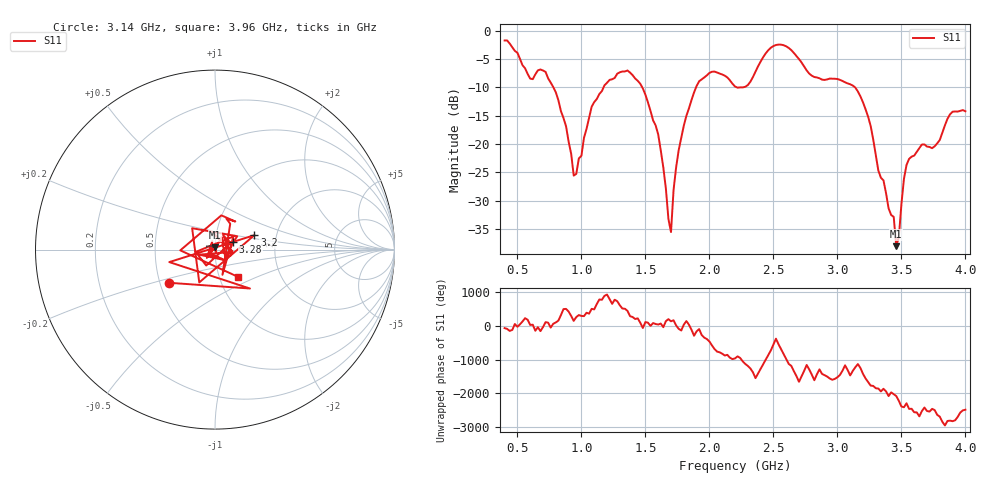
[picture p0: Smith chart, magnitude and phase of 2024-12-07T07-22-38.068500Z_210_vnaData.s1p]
!Created with skrf (http://scikit-rf.org).
# Hz S RI R 50.0
!freq ReS11 ImS11
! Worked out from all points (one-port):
!   181 points, 400 MHz to 4 GHz, reference 50 ohm
!   lowest |S11| = -38.1 dB at 3.46 GHz (marker M1), VSWR 1.03, Z = 50.2 + j1.24 ohm
!   |S11| at or under -10 dB: 781.7 MHz to 1.173 GHz (390.9 MHz wide, 40 % of centre); 1.476 GHz to 1.895 GHz (419.3 MHz wide, 24.9 % of centre); 3.139 GHz to end of sweep (the widest 3 of 4)
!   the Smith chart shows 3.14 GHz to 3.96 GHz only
!   S11 on the Smith chart (normalised r, x): 3.14 GHz: 0.56, -0.23; 3.2 GHz: 1.54, +0.26; 3.28 GHz: 1.22, +0.10; 3.96 GHz: 1.22, -0.38
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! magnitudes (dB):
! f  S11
! 400 MHz  -1.7
! 600 MHz  -8.4
! 720 MHz  -7.2
! 860 MHz  -15.4
! 940 MHz  -25.6
! 960 MHz  -25.3
! 1.08 GHz  -13.4
! 1.3 GHz  -7.3
! 1.46 GHz  -9.3
! 1.58 GHz  -16.7
! 1.7 GHz  -35.6
! 1.72 GHz  -28.1
! 1.76 GHz  -21.1
! 1.92 GHz  -8.9
! 2.2 GHz  -9.8
! 2.5 GHz  -2.7
! 2.66 GHz  -3.9
! 3.1 GHz  -9.4
! 3.14 GHz  -10.0
! 3.2 GHz  -12.6
! 3.28 GHz  -19.2
! 3.44 GHz  -32.9
! 3.46 GHz  -38.1
! 3.48 GHz  -36.5
! 3.52 GHz  -26.2
! 3.56 GHz  -22.6
! 3.96 GHz  -14.1
! 4 GHz  -14.2
